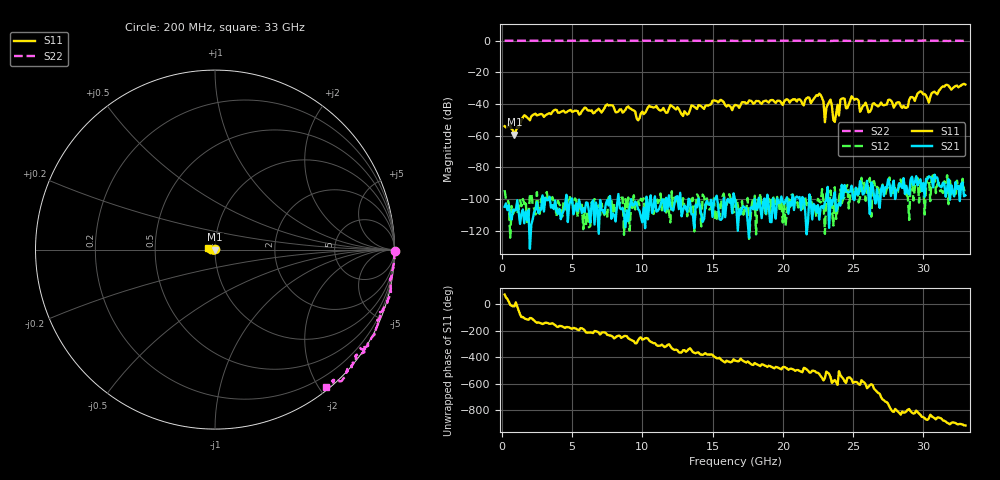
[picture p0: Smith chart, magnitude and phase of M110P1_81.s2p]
# GHZ S RI R 50
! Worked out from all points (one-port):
!   329 points, 200 MHz to 33 GHz, reference 50 ohm
!   lowest |S11| = -59.5 dB at 900 MHz (marker M1), VSWR 1.00, Z = 50.1 - j0.0323 ohm
!   |S11| at or under -10 dB: start of sweep to end of sweep
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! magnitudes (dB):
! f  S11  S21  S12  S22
! 200 MHz  -54.0  -105.0  -94.4  0.0
! 900 MHz  -59.5  -107.5  -106.7  0.0
! 1.6 GHz  -47.1  -115.4  -103.3  0.0
! 5.7 GHz  -44.5  -108.9  -103.6  -0.1
! 9 GHz  -41.6  -114.1  -99.1  0.0
! 9.7 GHz  -50.3  -106.5  -101.5  0.0
! 11.2 GHz  -43.7  -106.2  -101.1  0.0
! 16.6 GHz  -40.6  -100.3  -105.0  -0.1
! 22.1 GHz  -38.1  -113.0  -105.7  0.0
! 22.7 GHz  -34.4  -105.0  -102.2  -0.1
! 22.9 GHz  -38.6  -106.0  -101.5  0.0
! 23 GHz  -51.5  -102.1  -122.1  0.0
! 23.4 GHz  -37.2  -100.5  -94.6  -0.2
! 23.7 GHz  -51.3  -95.8  -92.7  0.0
! 24.2 GHz  -36.6  -91.1  -102.7  -0.1
! 26.1 GHz  -45.2  -97.8  -90.5  -0.1
! 27.6 GHz  -37.2  -90.6  -86.5  0.0
! 28.8 GHz  -42.4  -91.8  -97.2  -0.1
! 29.8 GHz  -32.0  -87.6  -89.9  0.0
! 30.4 GHz  -39.1  -85.7  -86.6  0.1
! 31.6 GHz  -28.0  -98.6  -89.9  -0.1
! 33 GHz  -27.7  -97.7  -94.4  -0.1
